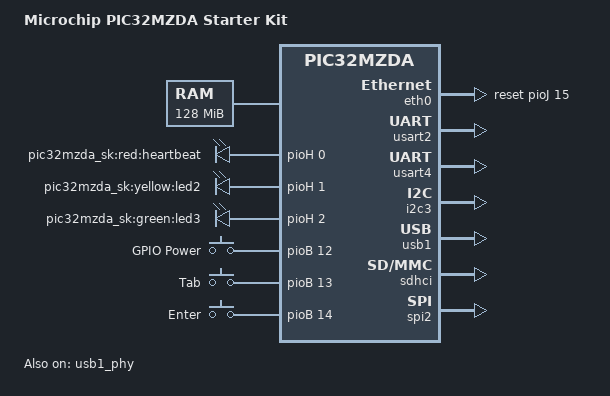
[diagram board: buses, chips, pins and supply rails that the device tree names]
/*
 * Copyright 2015 Microchip Technology, Inc.
 *
 * This program is free software; you can redistribute it and/or modify
 * it under the terms of the GNU General Public License version 2 as
 * published by the Free Software Foundation.
 *
 */

/dts-v1/;

#include <dt-bindings/gpio/gpio.h>
#include <dt-bindings/pinctrl/pic32mzda.h>

#include "pic32mzda.dtsi"

/ {
	compatible = "microchip,pic32mzda-sk", "microchip,pic32mzda";
	model = "Microchip PIC32MZDA Starter Kit";

	memory {
		device_type = "memory";
		reg = <0x08000000 0x08000000>;
	};

	chosen {
		bootargs = "earlyprintk=ttyS1,115200n8r console=ttyS1,115200n8";
	};

	leds {
		compatible = "gpio-leds";
		pinctrl-names = "default";
		pinctrl-0 = <&user_leds_s0>;

		led@1 {
			label = "pic32mzda_sk:red:heartbeat";
			gpios = <&pioH 0 GPIO_ACTIVE_HIGH>;
			linux,default-trigger = "heartbeat";
		};

		led@2 {
			label = "pic32mzda_sk:yellow:led2";
			gpios = <&pioH 1 GPIO_ACTIVE_HIGH>;
			linux,default-trigger = "mmc0";
		};

		led@3 {
			label = "pic32mzda_sk:green:led3";
			gpios = <&pioH 2 GPIO_ACTIVE_HIGH>;
			default-state = "on";
		};

	};

	keys0 {
		compatible = "gpio-keys-polled";
		pinctrl-0 = <&user_buttons_s0>;
		pinctrl-names = "default";

		#address-cells = <1>;
		#size-cells = <0>;
		poll-interval = <300>;

		button@sw1 {
			label = "GPIO Power";
			linux,code = <116>;
			gpios = <&pioB 12 0>;
		};

		button@sw2 {
			label = "Tab";
			linux,code = <15>;
			gpios = <&pioB 13 0>;
		};

		button@sw3 {
			label = "Enter";
			linux,code = <28>;
			gpios = <&pioB 14 0>;
		};
	};

	pwm8 {
		compatible = "microchip,pic32-pwm";
		microchip,timer = <&PBTIMER23>;
		microchip,ocmp = <&OCMP8>;
		pinctrl-names = "default";
		pinctrl-0 = <&pinctrl_oc8>;
		status = "okay";
	};

	pwm9 {
		compatible = "microchip,pic32-pwm";
		microchip,timer = <&PBTIMER23>;
		microchip,ocmp = <&OCMP9>;
		pinctrl-names = "default";
		pinctrl-0 = <&pinctrl_oc9>;
		status = "okay";
	};
};

&eth0 {
	mac-address = [00 00 00 00 00 00];
	pinctrl-names = "default";
	pinctrl-0 = <&pinctrl_eth0>;
	reset-gpio = <&pioJ 15 0>;
	status = "okay";
};

&usart2 {
	pinctrl-names = "default";
	pinctrl-0 = <&pinctrl_uart2>;
	status = "okay";
};

&usart4 {
	pinctrl-names = "default";
	pinctrl-0 = <&pinctrl_uart4>;
	status = "okay";
};

&i2c3 {
	#address-cells = <1>;
	#size-cells = <0>;
	pinctrl-names = "default";
	pinctrl-0 = <&pinctrl_i2c3>;
	status = "okay";
};

&usb1 {
	pinctrl-names = "default";
	pinctrl-0 = <&pinctrl_usb1>;
	status = "okay";

	usb_overcurrent@0 {
		interrupt-parent = <&pioB>;
		interrupts = <11 PIC32_CN_FALLING>;
	};
};

&usb1_phy {
	status = "okay";
};

&sdhci {
	pinctrl-names = "default";
	pinctrl-0 = <&pinctrl_sdhc1>;
	status = "okay";
};

&spi2 {
	pinctrl-names = "default";
	pinctrl-0 = <&pinctrl_spi2>;
	cs-gpios = <&pioD 0 GPIO_ACTIVE_LOW>, <&pioD 14 GPIO_ACTIVE_LOW>;
	status = "okay";
};

&pic32_pinctrl {

	usb1 {
		pinctrl_usb1: usb1_oc-0 {
			pic32,single-pins = <PORT_B 11 PIC32_PIN_CONF_DG_IN>;
		};
	};

	oc_pins8 {
		pinctrl_oc8: ocmp8_pins {
			pic32,pins = <PIC32_RP_OUT_RPB8 PIC32_PP_OUT_OC8
					PIC32_PIN_CONF_DG_OUT>;
		};
	};

	oc_pins9 {
		pinctrl_oc9: ocmp9_pins {
			pic32,pins = <PIC32_RP_OUT_RPG9 PIC32_PP_OUT_OC9
					PIC32_PIN_CONF_DG_OUT>;
		};
	};

	sdhc1 {
		pinctrl_sdhc1: sdhc1_pins0 {
			/* SDCLK */
			pic32,single-pins = <PORT_A 6 PIC32_PIN_CONF_DG>,
				<PORT_D 4 PIC32_PIN_CONF_DG>,	  /* SDCMD */
				<PORT_G 13 PIC32_PIN_CONF_DG>,	  /* SDDATA0 */
				<PORT_G 12 PIC32_PIN_CONF_DG>,	  /* SDDATA1 */
				<PORT_G 14 PIC32_PIN_CONF_DG>,	  /* SDDATA2 */
				<PORT_A 7 PIC32_PIN_CONF_DG>,	  /* SDDATA3 */
				<PORT_A 0 PIC32_PIN_CONF_DG>;	  /* SDCD */
		};
	};

	i2c3 {
		pinctrl_i2c3: i2c3_0 {
			pic32,single-pins = <PORT_F 8 PIC32_PIN_CONF_DG>,
				<PORT_F 2 PIC32_PIN_CONF_DG>;
		};
	};

	spi2 {
		pinctrl_spi2: spi2_0 {
			pic32,single-pins = <PORT_G 6 PIC32_PIN_CONF_DG_OUT
						PORT_D 0 PIC32_PIN_CONF_DG_OUT
						PORT_D 14 PIC32_PIN_CONF_DG_OUT>;

			pic32,pins = <PIC32_RP_IN_RPD7 PIC32_PP_IN_SDI2
					PIC32_PIN_CONF_DG_IN
				PIC32_RP_OUT_RPG8 PIC32_PP_OUT_SDO2
					PIC32_PIN_CONF_DG_OUT>;
		};
	};

	eth0 {
		pinctrl_eth0: eth0_0 {
			pic32,single-pins = <PORT_D 11 PIC32_PIN_CONF_DG>,
				<PORT_D 6 PIC32_PIN_CONF_DG>,
				<PORT_H 13 PIC32_PIN_CONF_DG>,
				<PORT_H 8 PIC32_PIN_CONF_DG>,
				<PORT_H 8 PIC32_PIN_CONF_PD>,
				<PORT_H 5 PIC32_PIN_CONF_DG>,
				<PORT_H 5 PIC32_PIN_CONF_PD>,
				<PORT_F 3 PIC32_PIN_CONF_DG>,
				<PORT_J 11 PIC32_PIN_CONF_DG>,
				<PORT_J 9 PIC32_PIN_CONF_DG>,
				<PORT_J 8 PIC32_PIN_CONF_DG>,
				<PORT_J 1 PIC32_PIN_CONF_DG>,
				<PORT_J 15 PIC32_PIN_CONF_DG_OUT>;
		};
	};

	leds {

		user_leds_s0: user_leds_s0 {
			pic32,single-pins = <PORT_H 0 PIC32_PIN_CONF_DG_OUT
				PORT_H 1 PIC32_PIN_CONF_DG_OUT
				PORT_H 2 PIC32_PIN_CONF_DG_OUT>;
		};
	};

	buttons0 {
		user_buttons_s0: user_buttons_s0 {
			pic32,single-pins = <PORT_B 12 PIC32_PIN_CONF_PU_IN
				PORT_B 13 PIC32_PIN_CONF_PU_IN
				PORT_B 14 PIC32_PIN_CONF_PU_IN>;
		};
	};

	uart2 {
		pinctrl_uart2: uart2-0 {
			pic32,pins = <PIC32_RP_OUT_RPG9 PIC32_PP_OUT_U2TX
					PIC32_PIN_CONF_DG_OUT
				PIC32_RP_IN_RPB0 PIC32_PP_IN_U2RX
					PIC32_PIN_CONF_DG_IN>;
		};
	};

	uart4 {
		pinctrl_uart4: uart4-0 {
			pic32,pins = <PIC32_RP_OUT_RPC3 PIC32_PP_OUT_U4TX
					PIC32_PIN_CONF_DG_OUT
				PIC32_RP_IN_RPE8 PIC32_PP_IN_U4RX
					PIC32_PIN_CONF_DG_IN>;
		};
	};
};
